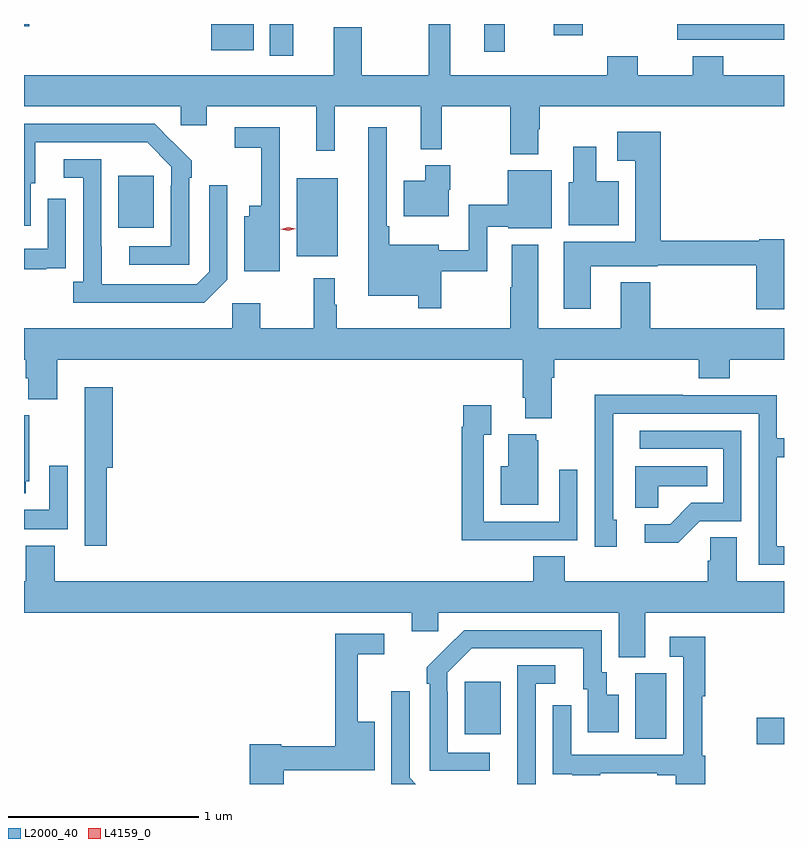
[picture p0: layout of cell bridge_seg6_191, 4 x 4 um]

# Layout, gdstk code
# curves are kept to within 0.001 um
import gdstk
lib = gdstk.Library(unit=1e-6, precision=1e-09)
def R(c, l, rs):  # rectangles x0, y0, x1, y1
    for r in rs: c.add(gdstk.rectangle(r[:2], r[2:], *l))
def P(c, l, *ps):  # polygons
    for p in ps: c.add(gdstk.Polygon(p, *l))
L2000_40 = (2000, 40)
L4159_0 = (4159, 0)

bridge_seg6_191 = lib.new_cell('bridge_seg6_191')
R(bridge_seg6_191, L2000_40, [(332.502,957.298,332.645,957.44), (331.862,957.328,332.026,957.672), (330.965,957.353,331.153,957.628), (330.08,959.867,330.295,960.277), (329.141,960.017,329.329,960.292), (329.939,960.924,330.061,961.09), (331.067,960.945,331.174,961.09), (329.63,960.953,329.854,961.09), (332.082,961.007,332.645,961.09), (331.433,961.032,331.586,961.09), (328.645,961.079,328.672,961.09)])
P(bridge_seg6_191, L2000_40, [(331.351,960.536),(331.359,960.536),(331.359,960.656),(332.645,960.656),(332.645,960.82),(332.324,960.82),(332.324,960.919),(332.164,960.919),(332.164,960.82),(331.875,960.82),(331.875,960.919),(331.715,960.919),(331.715,960.82),(330.889,960.82),(330.889,961.09),(330.775,961.09),(330.775,960.82),(330.423,960.82),(330.423,961.072),(330.275,961.072),(330.275,960.82),(328.645,960.82),(328.645,960.656),(329.469,960.656),(329.469,960.558),(329.608,960.558),(329.608,960.656),(330.182,960.656),(330.182,960.423),(330.281,960.423),(330.281,960.656),(330.734,960.656),(330.734,960.431),(330.844,960.431),(330.844,960.656),(331.204,960.656),(331.204,960.404),(331.351,960.404)],
  [(329.514,960.281),(329.529,960.281),(329.529,960.369),(329.332,960.564),(328.645,960.564),(328.645,960.027),(328.681,960.027),(328.681,960.252),(328.705,960.252),(328.705,960.468),(329.293,960.468),(329.421,960.339),(329.421,960.239),(329.418,960.239),(329.418,959.919),(329.199,959.919),(329.199,959.823),(329.514,959.823)],
  [(330.841,959.79),(331.083,959.79),(331.083,960.024),(331.194,960.024),(331.194,960.014),(331.423,960.014),(331.423,960.319),(331.19,960.319),(331.19,960.14),(330.987,960.14),(330.987,959.899),(330.829,959.899),(330.829,959.929),(330.568,959.929),(330.568,960.025),(330.555,960.025),(330.555,960.547),(330.458,960.547),(330.458,959.66),(330.72,959.66),(330.72,959.595),(330.841,959.595)],
  [(329.992,960.029),(329.991,960.029),(329.991,960.546),(329.754,960.546),(329.754,960.438),(329.894,960.438),(329.894,960.133),(329.831,960.133),(329.831,960.078),(329.804,960.078),(329.804,959.789),(329.992,959.789)],
  [(332.645,959.956),(332.514,959.956),(332.514,959.948),(331.997,959.948),(331.997,960.523),(331.767,960.523),(331.767,960.371),(331.862,960.371),(331.862,959.944),(331.487,959.944),(331.487,959.592),(331.627,959.592),(331.627,959.816),(331.98,959.816),(331.98,959.82),(332.498,959.82),(332.498,959.589),(332.645,959.589)],
  [(331.774,960.262),(331.657,960.262),(331.657,960.445),(331.535,960.445),(331.535,960.258),(331.511,960.258),(331.511,960.032),(331.774,960.032)],
  [(329.715,959.745),(329.715,960.241),(329.619,960.241),(329.619,959.787),(329.553,959.721),(329.053,959.721),(329.052,960.378),(328.854,960.378),(328.854,960.282),(328.956,960.282),(328.956,959.734),(328.905,959.734),(328.905,959.624),(329.594,959.624)],
  [(330.88,960.217),(330.888,960.217),(330.888,960.346),(330.758,960.346),(330.758,960.265),(330.644,960.265),(330.644,960.077),(330.88,960.077)],
  [(328.763,959.805),(328.865,959.805),(328.865,959.914),(328.866,959.914),(328.866,960.169),(328.77,960.169),(328.77,959.907),(328.645,959.907),(328.645,959.799),(328.763,959.799)],
  [(332.195,959.225),(332.36,959.225),(332.36,959.324),(332.645,959.324),(332.645,959.488),(331.94,959.488),(331.94,959.731),(331.787,959.731),(331.787,959.488),(331.351,959.488),(331.351,959.929),(331.211,959.929),(331.211,959.705),(331.204,959.705),(331.204,959.488),(330.292,959.488),(330.292,959.612),(330.28,959.612),(330.28,959.752),(330.171,959.752),(330.171,959.488),(329.889,959.488),(329.889,959.62),(329.742,959.62),(329.742,959.488),(328.645,959.488),(328.645,959.324),(328.655,959.324),(328.655,959.225),(328.667,959.225),(328.667,959.116),(328.82,959.116),(328.82,959.324),(331.271,959.324),(331.271,959.122),(331.283,959.122),(331.283,959.015),(331.423,959.015),(331.423,959.228),(331.436,959.228),(331.436,959.324),(332.195,959.324)],
  [(329.081,958.754),(329.111,958.754),(329.111,959.179),(328.964,959.179),(328.964,958.858),(328.965,958.858),(328.965,958.344),(329.081,958.344)],
  [(332.645,958.341),(332.607,958.341),(332.607,958.81),(332.645,958.81),(332.645,958.911),(332.607,958.911),(332.607,959.136),(332.111,959.136),(332.111,959.138),(331.648,959.138),(331.648,958.831),(331.65,958.831),(331.65,958.338),(331.765,958.338),(331.765,958.482),(331.746,958.482),(331.746,959.04),(332.511,959.04),(332.511,958.245),(332.645,958.245)],
  [(331.241,958.374),(331.557,958.374),(331.557,958.744),(331.461,958.744),(331.461,958.47),(331.065,958.47),(331.065,958.927),(331.105,958.927),(331.105,959.083),(330.957,959.083),(330.957,958.97),(330.949,958.97),(330.949,958.373),(331.241,958.373)],
  [(328.654,958.683),(328.672,958.683),(328.672,959.031),(328.645,959.031),(328.645,958.62),(328.654,958.62)],
  [(332.202,958.473),(332.421,958.473),(332.421,958.95),(331.887,958.95),(331.887,958.854),(332.325,958.854),(332.325,958.569),(332.156,958.569),(332.045,958.458),(331.911,958.458),(331.911,958.361),(332.089,958.361)],
  [(331.351,958.899),(331.34,958.899),(331.34,958.93),(331.193,958.93),(331.193,958.762),(331.154,958.762),(331.154,958.559),(331.351,958.559)],
  [(328.875,958.765),(328.779,958.765),(328.779,958.534),(328.645,958.534),(328.645,958.43),(328.875,958.43)],
  [(331.983,958.658),(332.24,958.658),(332.24,958.762),(331.862,958.762),(331.862,958.543),(331.983,958.543)],
  [(331.915,957.992),(332.645,957.992),(332.645,958.156),(332.395,958.156),(332.395,958.388),(332.256,958.388),(332.256,958.265),(332.243,958.265),(332.243,958.156),(331.49,958.156),(331.49,958.289),(331.325,958.289),(331.325,958.156),(328.807,958.156),(328.807,958.345),(328.655,958.345),(328.655,958.156),(328.645,958.156),(328.645,957.992),(330.686,957.992),(330.686,957.894),(330.825,957.894),(330.825,957.992),(331.775,957.992),(331.775,957.757),(331.915,957.757)],
  [(331.096,957.255),(330.876,957.255),(330.876,957.575),(330.873,957.575),(330.873,957.675),(331.002,957.804),(331.589,957.804),(331.589,957.588),(331.613,957.588),(331.613,957.363),(331.774,957.363),(331.774,957.559),(331.711,957.559),(331.711,957.678),(331.686,957.678),(331.686,957.9),(330.962,957.9),(330.765,957.705),(330.765,957.617),(330.78,957.617),(330.78,957.159),(331.096,957.159)],
  [(330.012,957.162),(330.49,957.162),(330.49,957.418),(330.401,957.418),(330.401,957.774),(330.541,957.774),(330.541,957.882),(330.283,957.882),(330.283,957.29),(330,957.29),(330,957.298),(329.834,957.298),(329.834,957.09),(330.012,957.09)],
  [(332.231,957.24),(332.216,957.24),(332.216,957.552),(332.231,957.552),(332.231,957.865),(332.043,957.865),(332.043,957.759),(332.115,957.759),(332.115,957.243),(331.524,957.243),(331.524,957.505),(331.428,957.505),(331.428,957.25),(331.429,957.25),(331.429,957.141),(331.531,957.141),(331.531,957.135),(331.679,957.135),(331.679,957.147),(331.979,957.147),(331.979,957.135),(332.075,957.135),(332.075,957.09),(332.231,957.09)],
  [(331.338,957.618),(331.441,957.618),(331.441,957.714),(331.242,957.714),(331.242,957.257),(331.241,957.257),(331.241,957.09),(331.338,957.09)],
  [(330.675,957.123),(330.675,957.577),(330.579,957.577),(330.579,957.09),(330.708,957.09)])
P(bridge_seg6_191, L4159_0, [(330.036,960.001),(329.996,960.01),(329.996,960.011),(329.996,960.011),(330.035,960.021),(330.075,960.012),(330.075,960.012),(330.075,960.012)])

lib.write_gds('bridge_seg6_191.gds')
